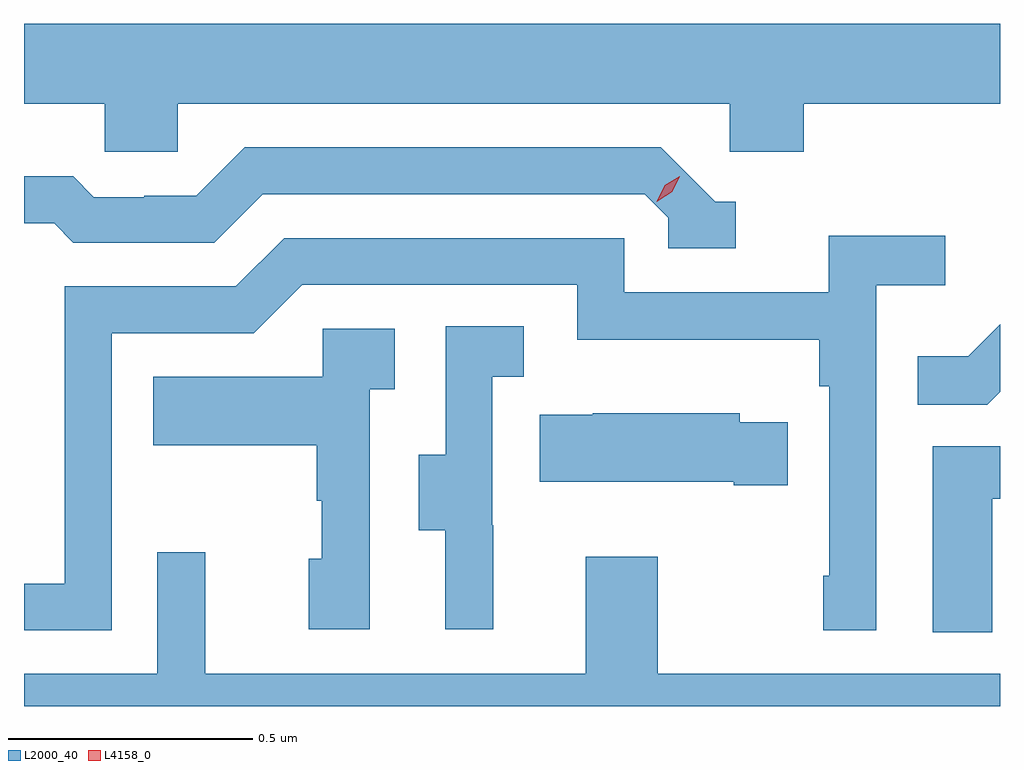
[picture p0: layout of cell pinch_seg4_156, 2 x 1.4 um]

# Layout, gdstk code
import gdstk
lib = gdstk.Library(unit=1e-6, precision=1e-09)
def P(c, l, *ps):  # polygons
    for p in ps: c.add(gdstk.Polygon(p, *l))
L2000_40 = (2000, 40)
L4158_0 = (4158, 0)

pinch_seg4_156 = lib.new_cell('pinch_seg4_156')
P(pinch_seg4_156, L2000_40, [(1139.949,802.148),(1141.08,802.148),(1141.08,802.05),(1141.232,802.05),(1141.232,802.148),(1141.634,802.148),(1141.634,802.312),(1139.634,802.312),(1139.634,802.148),(1139.799,802.148),(1139.799,802.05),(1139.949,802.05)],
  [(1141.093,801.948),(1141.05,801.948),(1140.939,802.059),(1140.086,802.059),(1139.987,801.96),(1139.88,801.96),(1139.88,801.957),(1139.777,801.957),(1139.735,802),(1139.634,802),(1139.634,801.903),(1139.696,801.903),(1139.735,801.864),(1140.024,801.864),(1140.123,801.963),(1140.906,801.963),(1140.954,801.915),(1140.954,801.852),(1141.093,801.852)],
  [(1139.814,801.678),(1140.105,801.678),(1140.204,801.777),(1140.768,801.777),(1140.768,801.665),(1141.264,801.665),(1141.264,801.569),(1141.284,801.569),(1141.284,801.181),(1141.272,801.181),(1141.272,801.069),(1141.38,801.069),(1141.38,801.776),(1141.522,801.776),(1141.522,801.878),(1141.283,801.878),(1141.283,801.762),(1140.864,801.762),(1140.864,801.873),(1140.167,801.873),(1140.068,801.774),(1139.718,801.774),(1139.718,801.165),(1139.634,801.165),(1139.634,801.069),(1139.814,801.069)],
  [(1141.634,801.558),(1141.634,801.696),(1141.569,801.631),(1141.465,801.631),(1141.465,801.532),(1141.608,801.532)],
  [(1140.596,801.285),(1140.594,801.285),(1140.594,801.589),(1140.658,801.589),(1140.658,801.692),(1140.498,801.692),(1140.498,801.429),(1140.443,801.429),(1140.443,801.274),(1140.497,801.274),(1140.497,801.072),(1140.596,801.072)],
  [(1140.342,801.563),(1140.394,801.563),(1140.394,801.687),(1140.246,801.687),(1140.246,801.589),(1139.899,801.589),(1139.899,801.449),(1140.234,801.449),(1140.234,801.335),(1140.244,801.335),(1140.244,801.216),(1140.218,801.216),(1140.218,801.072),(1140.342,801.072)],
  [(1141.199,801.496),(1141.101,801.496),(1141.101,801.514),(1140.799,801.514),(1140.799,801.511),(1140.691,801.511),(1140.691,801.374),(1141.088,801.374),(1141.088,801.367),(1141.199,801.367)],
  [(1141.618,801.339),(1141.634,801.339),(1141.634,801.447),(1141.496,801.447),(1141.496,801.065),(1141.618,801.065)],
  [(1141.634,800.98),(1140.933,800.98),(1140.933,801.22),(1140.785,801.22),(1140.785,800.98),(1140.005,800.98),(1140.005,801.229),(1139.907,801.229),(1139.907,800.98),(1139.634,800.98),(1139.634,800.914),(1141.634,800.914)])
P(pinch_seg4_156, L4158_0, [(1140.931,801.948),(1140.931,801.949),(1140.947,801.981),(1140.978,802),(1140.978,802),(1140.978,802),(1140.962,801.968),(1140.931,801.948)])

lib.write_gds('pinch_seg4_156.gds')
